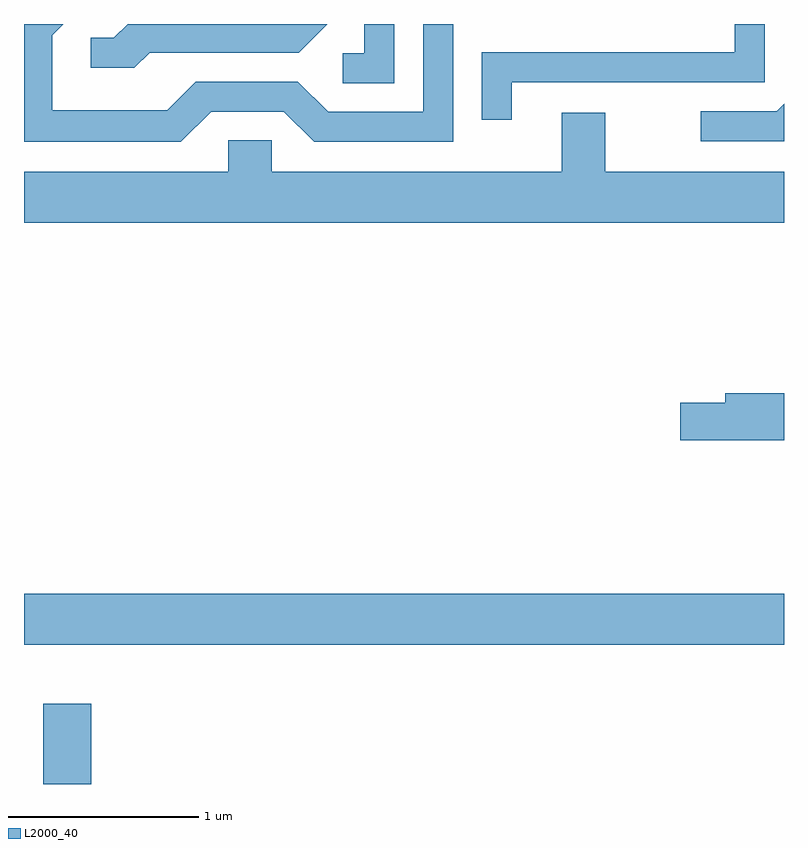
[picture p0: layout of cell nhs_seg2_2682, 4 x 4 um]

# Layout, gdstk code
import gdstk
lib = gdstk.Library(unit=1e-6, precision=1e-09)
def R(c, l, rs):  # rectangles x0, y0, x1, y1
    for r in rs: c.add(gdstk.rectangle(r[:2], r[2:], *l))
def P(c, l, *ps):  # polygons
    for p in ps: c.add(gdstk.Polygon(p, *l))
L2000_40 = (2000, 40)

nhs_seg2_2682 = lib.new_cell('nhs_seg2_2682')
R(nhs_seg2_2682, L2000_40, [(263.711,1049.802,263.964,1050.224), (263.611,1050.536,267.611,1050.804)])
P(nhs_seg2_2682, L2000_40, [(265.559,1053.802),(265.401,1053.802),(265.401,1053.649),(265.288,1053.649),(265.288,1053.491),(265.559,1053.491)],
  [(266.179,1053.496),(267.509,1053.496),(267.509,1053.802),(267.351,1053.802),(267.351,1053.654),(266.021,1053.654),(266.021,1053.298),(266.179,1053.298)],
  [(264.597,1053.341),(264.979,1053.341),(265.139,1053.181),(265.869,1053.181),(265.869,1053.802),(265.711,1053.802),(265.711,1053.339),(265.212,1053.339),(265.052,1053.499),(264.514,1053.499),(264.364,1053.349),(263.759,1053.349),(263.759,1053.744),(263.817,1053.802),(263.611,1053.802),(263.611,1053.181),(264.437,1053.181)],
  [(264.272,1053.651),(265.057,1053.651),(265.207,1053.802),(264.156,1053.802),(264.084,1053.729),(263.963,1053.729),(263.963,1053.571),(264.192,1053.571)],
  [(267.611,1053.381),(267.574,1053.344),(267.173,1053.344),(267.173,1053.186),(267.611,1053.186)],
  [(267.611,1053.024),(266.669,1053.024),(266.669,1053.334),(266.441,1053.334),(266.441,1053.024),(264.914,1053.024),(264.914,1053.189),(264.686,1053.189),(264.686,1053.024),(263.611,1053.024),(263.611,1052.756),(267.611,1052.756)],
  [(267.611,1051.859),(267.301,1051.859),(267.301,1051.809),(267.066,1051.809),(267.066,1051.611),(267.611,1051.611)])

lib.write_gds('nhs_seg2_2682.gds')
